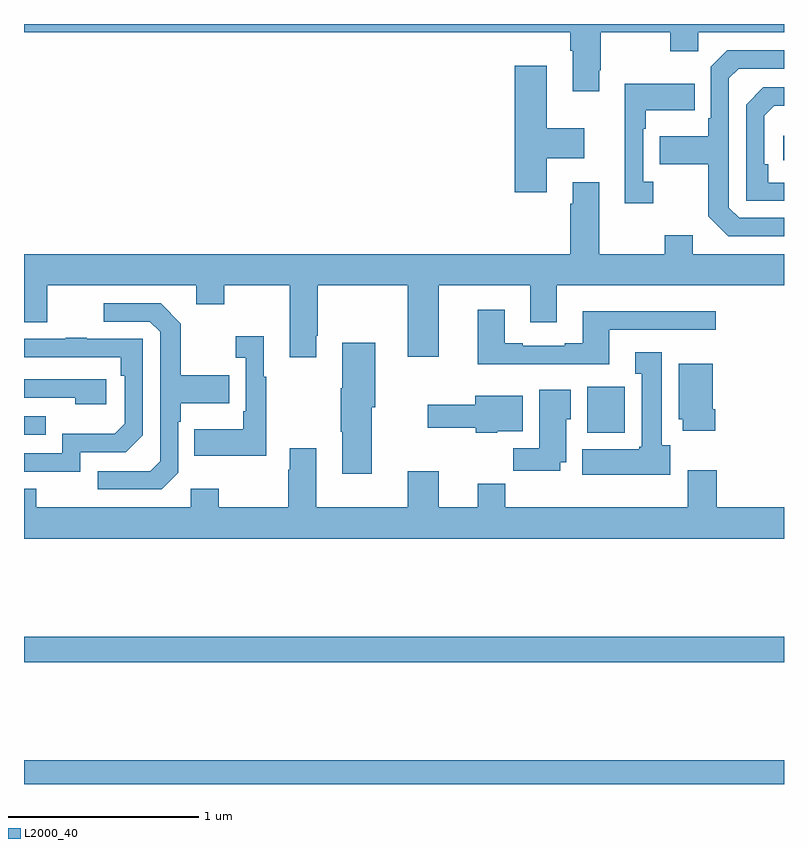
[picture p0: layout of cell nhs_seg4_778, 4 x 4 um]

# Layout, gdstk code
import gdstk
lib = gdstk.Library(unit=1e-6, precision=1e-09)
def R(c, l, rs):  # rectangles x0, y0, x1, y1
    for r in rs: c.add(gdstk.rectangle(r[:2], r[2:], *l))
def P(c, l, *ps):  # polygons
    for p in ps: c.add(gdstk.Polygon(p, *l))
L2000_40 = (2000, 40)

nhs_seg4_778 = lib.new_cell('nhs_seg4_778')
R(nhs_seg4_778, L2000_40, [(151,756.9,155,757.024), (151,757.54,155,757.676), (151,758.739,151.115,758.835), (153.965,758.75,154.162,758.992), (154.995,760.182,155,760.312)])
P(nhs_seg4_778, L2000_40, [(154.027,760.657),(154.035,760.657),(154.035,760.856),(154.402,760.856),(154.402,760.757),(154.548,760.757),(154.548,760.856),(155,760.856),(155,760.9),(151,760.9),(151,760.856),(153.875,760.856),(153.875,760.76),(153.887,760.76),(153.887,760.545),(154.027,760.545)],
  [(155,759.879),(154.764,759.879),(154.71,759.933),(154.71,760.614),(154.761,760.665),(155,760.665),(155,760.761),(154.701,760.761),(154.614,760.674),(154.614,760.405),(154.602,760.405),(154.602,760.309),(154.345,760.309),(154.345,760.162),(154.602,760.162),(154.602,759.889),(154.707,759.783),(155,759.783)],
  [(153.751,760.193),(153.949,760.193),(153.949,760.351),(153.751,760.351),(153.751,760.681),(153.584,760.681),(153.584,760.014),(153.751,760.014)],
  [(154.312,760.07),(154.26,760.07),(154.26,760.349),(154.273,760.349),(154.273,760.445),(154.529,760.445),(154.529,760.585),(154.163,760.585),(154.163,759.957),(154.312,759.957)],
  [(155,760.065),(154.916,760.065),(154.916,760.162),(154.896,760.162),(154.896,760.416),(154.949,760.469),(155,760.469),(155,760.566),(154.89,760.566),(154.8,760.476),(154.8,759.969),(155,759.969)],
  [(152.539,759.259),(152.547,759.259),(152.547,759.524),(153.02,759.524),(153.02,759.15),(153.184,759.15),(153.184,759.524),(153.665,759.524),(153.665,759.33),(153.805,759.33),(153.805,759.524),(155,759.524),(155,759.688),(154.519,759.688),(154.519,759.787),(154.372,759.787),(154.372,759.688),(154.027,759.688),(154.027,760.066),(153.887,760.066),(153.887,759.953),(153.875,759.953),(153.875,759.688),(151,759.688),(151,759.33),(151.123,759.33),(151.123,759.524),(151.907,759.524),(151.907,759.425),(152.055,759.425),(152.055,759.524),(152.399,759.524),(152.399,759.147),(152.539,759.147)],
  [(151.812,758.538),(151.812,758.807),(151.825,758.807),(151.825,758.903),(152.081,758.903),(152.081,759.051),(151.825,759.051),(151.825,759.323),(151.719,759.429),(151.419,759.429),(151.419,759.333),(151.662,759.333),(151.716,759.279),(151.716,758.598),(151.665,758.547),(151.389,758.547),(151.389,758.451),(151.725,758.451)],
  [(154.081,759.291),(154.642,759.291),(154.642,759.388),(153.941,759.388),(153.941,759.22),(153.845,759.22),(153.845,759.207),(153.625,759.207),(153.625,759.22),(153.529,759.22),(153.529,759.397),(153.389,759.397),(153.389,759.11),(154.081,759.11)],
  [(152.275,759.043),(152.263,759.043),(152.263,759.256),(152.115,759.256),(152.115,759.143),(152.166,759.143),(152.166,758.863),(152.154,758.863),(152.154,758.767),(151.897,758.767),(151.897,758.627),(152.275,758.627)],
  [(151.296,758.646),(151.536,758.646),(151.626,758.736),(151.626,759.243),(151.331,759.243),(151.331,759.248),(151.219,759.248),(151.219,759.243),(151,759.243),(151,759.147),(151.51,759.147),(151.51,759.05),(151.53,759.05),(151.53,758.796),(151.477,758.743),(151.2,758.743),(151.2,758.64),(151,758.64),(151,758.544),(151.296,758.544)],
  [(152.83,758.883),(152.848,758.883),(152.848,759.223),(152.675,759.223),(152.675,758.983),(152.668,758.983),(152.668,758.755),(152.675,758.755),(152.675,758.532),(152.83,758.532)],
  [(154.402,758.682),(154.357,758.682),(154.357,759.172),(154.217,759.172),(154.217,759.059),(154.25,759.059),(154.25,758.676),(154.237,758.676),(154.237,758.662),(153.938,758.662),(153.938,758.528),(154.402,758.528)],
  [(154.637,758.872),(154.624,758.872),(154.624,759.112),(154.445,759.112),(154.445,758.82),(154.466,758.82),(154.466,758.76),(154.637,758.76)],
  [(151.432,759.03),(151,759.03),(151,758.934),(151.271,758.934),(151.271,758.9),(151.432,758.9)],
  [(153.823,758.594),(153.853,758.594),(153.853,758.82),(153.877,758.82),(153.877,758.974),(153.713,758.974),(153.713,758.668),(153.574,758.668),(153.574,758.55),(153.823,758.55)],
  [(153.492,758.756),(153.625,758.756),(153.625,758.944),(153.374,758.944),(153.374,758.896),(153.126,758.896),(153.126,758.774),(153.378,758.774),(153.378,758.75),(153.492,758.75)],
  [(155,758.356),(154.646,758.356),(154.646,758.551),(154.493,758.551),(154.493,758.356),(153.533,758.356),(153.533,758.48),(153.389,758.48),(153.389,758.356),(153.184,758.356),(153.184,758.545),(153.02,758.545),(153.02,758.356),(152.539,758.356),(152.539,758.668),(152.399,758.668),(152.399,758.555),(152.392,758.555),(152.392,758.356),(152.025,758.356),(152.025,758.455),(151.878,758.455),(151.878,758.356),(151.065,758.356),(151.065,758.455),(151,758.455),(151,758.192),(155,758.192)])

lib.write_gds('nhs_seg4_778.gds')
